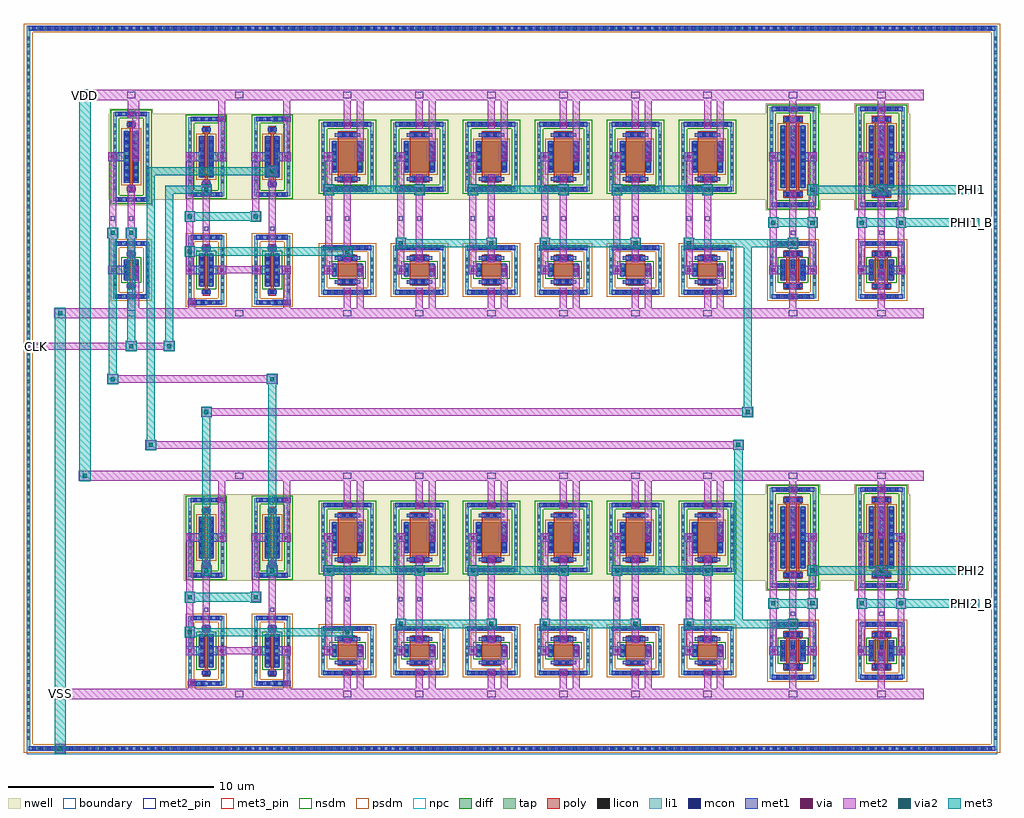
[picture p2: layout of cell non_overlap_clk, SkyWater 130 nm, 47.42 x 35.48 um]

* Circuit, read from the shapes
.subckt non_overlap_clk CLK PHI1 PHI1_B PHI2 PHI2_B VDD VSS
XM1 VSS CLK nand2_cell_0/B VSS sky130_fd_pr__nfet_01v8 w=1 l=0.15
XM2 n1 inv_buf_17/A inv_del_1/A VSS sky130_fd_pr__nfet_01v8 w=1.6 l=0.15
XM3 n2 CLK inv_del_12/A VSS sky130_fd_pr__nfet_01v8 w=1.6 l=0.15
XM4 VSS nand2_cell_0/B n1 VSS sky130_fd_pr__nfet_01v8 w=1.6 l=0.15
XM5 VSS inv_buf_7/A n2 VSS sky130_fd_pr__nfet_01v8 w=1.6 l=0.15
XM6 VSS inv_del_1/A inv_del_2/A VSS sky130_fd_pr__nfet_01v8 w=0.6 l=0.95
XM7 VSS inv_del_12/A inv_del_11/A VSS sky130_fd_pr__nfet_01v8 w=0.6 l=0.95
XM8 VSS inv_del_2/A inv_del_3/A VSS sky130_fd_pr__nfet_01v8 w=0.6 l=0.95
XM9 VSS inv_del_11/A inv_del_14/A VSS sky130_fd_pr__nfet_01v8 w=0.6 l=0.95
XM10 VSS inv_del_3/A inv_del_4/A VSS sky130_fd_pr__nfet_01v8 w=0.6 l=0.95
XM11 VSS inv_del_14/A inv_del_13/A VSS sky130_fd_pr__nfet_01v8 w=0.6 l=0.95
XM12 VSS inv_del_4/A inv_del_5/A VSS sky130_fd_pr__nfet_01v8 w=0.6 l=0.95
XM13 VSS inv_del_13/A inv_del_16/A VSS sky130_fd_pr__nfet_01v8 w=0.6 l=0.95
XM14 VSS inv_del_5/A inv_del_6/A VSS sky130_fd_pr__nfet_01v8 w=0.6 l=0.95
XM15 VSS inv_del_16/A inv_del_15/A VSS sky130_fd_pr__nfet_01v8 w=0.6 l=0.95
XM16 VSS inv_del_6/A inv_buf_7/A VSS sky130_fd_pr__nfet_01v8 w=0.6 l=0.95
XM17 VSS inv_del_15/A inv_buf_17/A VSS sky130_fd_pr__nfet_01v8 w=0.6 l=0.95
XM18 VSS inv_buf_7/A PHI2 VSS sky130_fd_pr__nfet_01v8 w=1 l=0.15 m=2
XM19 VSS inv_buf_17/A PHI1 VSS sky130_fd_pr__nfet_01v8 w=1 l=0.15 m=2
XM20 VSS PHI2 PHI2_B VSS sky130_fd_pr__nfet_01v8 w=1 l=0.15 m=2
XM21 VSS PHI1 PHI1_B VSS sky130_fd_pr__nfet_01v8 w=1 l=0.15 m=2
XM22 VDD CLK nand2_cell_0/B VDD sky130_fd_pr__pfet_01v8 w=2.5 l=0.15
XM23 VDD inv_buf_17/A inv_del_1/A VDD sky130_fd_pr__pfet_01v8 w=2 l=0.15
XM24 VDD CLK inv_del_12/A VDD sky130_fd_pr__pfet_01v8 w=2 l=0.15
XM25 VDD nand2_cell_0/B inv_del_1/A VDD sky130_fd_pr__pfet_01v8 w=2 l=0.15
XM26 VDD inv_buf_7/A inv_del_12/A VDD sky130_fd_pr__pfet_01v8 w=2 l=0.15
XM27 VDD inv_del_1/A inv_del_2/A VDD sky130_fd_pr__pfet_01v8 w=1.5 l=0.95
XM28 VDD inv_del_12/A inv_del_11/A VDD sky130_fd_pr__pfet_01v8 w=1.5 l=0.95
XM29 VDD inv_del_2/A inv_del_3/A VDD sky130_fd_pr__pfet_01v8 w=1.5 l=0.95
XM30 VDD inv_del_11/A inv_del_14/A VDD sky130_fd_pr__pfet_01v8 w=1.5 l=0.95
XM31 VDD inv_del_3/A inv_del_4/A VDD sky130_fd_pr__pfet_01v8 w=1.5 l=0.95
XM32 VDD inv_del_14/A inv_del_13/A VDD sky130_fd_pr__pfet_01v8 w=1.5 l=0.95
XM33 VDD inv_del_4/A inv_del_5/A VDD sky130_fd_pr__pfet_01v8 w=1.5 l=0.95
XM34 VDD inv_del_13/A inv_del_16/A VDD sky130_fd_pr__pfet_01v8 w=1.5 l=0.95
XM35 VDD inv_del_5/A inv_del_6/A VDD sky130_fd_pr__pfet_01v8 w=1.5 l=0.95
XM36 VDD inv_del_16/A inv_del_15/A VDD sky130_fd_pr__pfet_01v8 w=1.5 l=0.95
XM37 VDD inv_del_6/A inv_buf_7/A VDD sky130_fd_pr__pfet_01v8 w=1.5 l=0.95
XM38 VDD inv_del_15/A inv_buf_17/A VDD sky130_fd_pr__pfet_01v8 w=1.5 l=0.95
XM39 VDD inv_buf_7/A PHI2 VDD sky130_fd_pr__pfet_01v8 w=3 l=0.15 m=2
XM40 VDD inv_buf_17/A PHI1 VDD sky130_fd_pr__pfet_01v8 w=3 l=0.15 m=2
XM41 VDD PHI2 PHI2_B VDD sky130_fd_pr__pfet_01v8 w=3 l=0.15 m=2
XM42 VDD PHI1 PHI1_B VDD sky130_fd_pr__pfet_01v8 w=3 l=0.15 m=2
.ends

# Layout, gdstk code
import gdstk
lib = gdstk.Library(unit=1e-6, precision=1e-09)
def R(c, l, rs):  # rectangles x0, y0, x1, y1
    for r in rs: c.add(gdstk.rectangle(r[:2], r[2:], *l))
def A(c, l, x, y, w, h, nx, ny, dx, dy):  # array of equal rectangles
    R(c, l, [(x+i*dx, y+j*dy, x+i*dx+w, y+j*dy+h) for i in range(nx) for j in range(ny)])
nwell = (64, 20)
diff = (65, 20)
tap = (65, 44)
poly = (66, 20)
licon = (66, 44)
li1 = (67, 20)
mcon = (67, 44)
met1 = (68, 20)
via = (68, 44)
met2_pin = (69, 16)
met2 = (69, 20)
via2 = (69, 44)
met3_pin = (70, 16)
met3 = (70, 20)
nsdm = (93, 44)
psdm = (94, 20)
npc = (95, 20)
boundary = (235, 4)

dev_p_nand = lib.new_cell('dev_p_nand')
R(dev_p_nand, nwell, [(-1.055,-2.095,1.055,2.095)])
R(dev_p_nand, diff, [(-0.365,-1,0.365,1)])
R(dev_p_nand, tap, [(-0.875,-1.915,0.875,-1.745), (-0.875,-1.745,-0.705,1.745), (0.705,-1.745,0.875,1.745), (-0.875,1.745,0.875,1.915)])
R(dev_p_nand, poly, [(-0.165,-1.485,0.165,-1.155), (-0.075,-1.155,0.075,1.155), (-0.165,1.155,0.165,1.485)])
A(dev_p_nand, licon, -0.875, -1.275, 0.17, 0.17, 1, 8, 0, 0.34)
A(dev_p_nand, licon, 0.705, -1.275, 0.17, 0.17, 1, 8, 0, 0.34)
A(dev_p_nand, licon, -0.305, -0.935, 0.17, 0.17, 1, 6, 0, 0.34)
A(dev_p_nand, licon, 0.135, -0.935, 0.17, 0.17, 1, 6, 0, 0.34)
R(dev_p_nand, licon, [(-0.255,-1.915,-0.085,-1.745), (0.085,-1.915,0.255,-1.745), (-0.085,-1.405,0.085,-1.235), (-0.085,1.235,0.085,1.405), (-0.255,1.745,-0.085,1.915), (0.085,1.745,0.255,1.915)])
R(dev_p_nand, li1, [(-0.875,-1.915,0.875,-1.745), (-0.875,-1.745,-0.705,1.745), (0.705,-1.745,0.875,1.745), (-0.22,-1.405,0.22,-1.235), (-0.305,-1.02,-0.135,1.02), (0.135,-1.02,0.305,1.02), (-0.22,1.235,0.22,1.405), (-0.875,1.745,0.875,1.915)])
A(dev_p_nand, mcon, -0.625, -1.915, 0.17, 0.17, 4, 2, 0.36, 3.66)
A(dev_p_nand, mcon, -0.305, -0.805, 0.17, 0.17, 1, 5, 0, 0.36)
A(dev_p_nand, mcon, 0.135, -0.805, 0.17, 0.17, 1, 5, 0, 0.36)
R(dev_p_nand, mcon, [(-0.085,-1.405,0.085,-1.235), (-0.085,1.235,0.085,1.405)])
R(dev_p_nand, met1, [(-0.765,-1.945,0.765,-1.715), (-0.145,-1.435,0.145,-1.405), (-0.22,-1.405,0.22,-1.235), (-0.145,-1.235,0.145,-1.205), (-0.335,-1,-0.105,1), (0.105,-1,0.335,1), (-0.145,1.205,0.145,1.235), (-0.22,1.235,0.22,1.405), (-0.145,1.405,0.145,1.435), (-0.765,1.715,0.765,1.945)])
R(dev_p_nand, nsdm, [(-1,-2.04,1,-1.62), (-1,-1.62,-0.58,1.62), (0.58,-1.62,1,1.62), (-1,1.62,1,2.04)])
R(dev_p_nand, psdm, [(-0.49,-1.125,0.49,1.125)])
R(dev_p_nand, npc, [(-0.185,-1.505,0.185,-1.135), (-0.185,1.135,0.185,1.505)])
R(dev_p_nand, boundary, [(-0.79,-1.83,0.79,1.83)])

dev_n_nand = lib.new_cell('dev_n_nand')
R(dev_n_nand, diff, [(-0.365,-0.8,0.365,0.8)])
R(dev_n_nand, tap, [(-0.875,-1.67,0.875,-1.5), (-0.875,-1.5,-0.705,1.5), (0.705,-1.5,0.875,1.5), (-0.875,1.5,0.875,1.67)])
R(dev_n_nand, poly, [(-0.165,-1.24,0.165,-0.91), (-0.075,-0.91,0.075,0.91), (-0.165,0.91,0.165,1.24)])
A(dev_n_nand, licon, -0.875, -1.105, 0.17, 0.17, 1, 7, 0, 0.34)
A(dev_n_nand, licon, 0.705, -1.105, 0.17, 0.17, 1, 7, 0, 0.34)
A(dev_n_nand, licon, -0.305, -0.595, 0.17, 0.17, 1, 4, 0, 0.34)
A(dev_n_nand, licon, 0.135, -0.595, 0.17, 0.17, 1, 4, 0, 0.34)
R(dev_n_nand, licon, [(-0.255,-1.67,-0.085,-1.5), (0.085,-1.67,0.255,-1.5), (-0.085,-1.16,0.085,-0.99), (-0.085,0.99,0.085,1.16), (-0.255,1.5,-0.085,1.67), (0.085,1.5,0.255,1.67)])
R(dev_n_nand, li1, [(-0.875,-1.67,0.875,-1.5), (-0.875,-1.5,-0.705,1.5), (0.705,-1.5,0.875,1.5), (-0.22,-1.16,0.22,-0.99), (-0.305,-0.82,-0.135,0.82), (0.135,-0.82,0.305,0.82), (-0.22,0.99,0.22,1.16), (-0.875,1.5,0.875,1.67)])
A(dev_n_nand, mcon, -0.625, -1.67, 0.17, 0.17, 4, 2, 0.36, 3.17)
A(dev_n_nand, mcon, -0.305, -0.625, 0.17, 0.17, 1, 4, 0, 0.36)
A(dev_n_nand, mcon, 0.135, -0.625, 0.17, 0.17, 1, 4, 0, 0.36)
R(dev_n_nand, mcon, [(-0.085,-1.16,0.085,-0.99), (-0.085,0.99,0.085,1.16)])
R(dev_n_nand, met1, [(-0.765,-1.7,0.765,-1.47), (-0.145,-1.19,0.145,-1.16), (-0.22,-1.16,0.22,-0.99), (-0.145,-0.99,0.145,-0.96), (-0.335,-0.8,-0.105,0.8), (0.105,-0.8,0.335,0.8), (-0.145,0.96,0.145,0.99), (-0.22,0.99,0.22,1.16), (-0.145,1.16,0.145,1.19), (-0.765,1.47,0.765,1.7)])
R(dev_n_nand, nsdm, [(-0.49,-0.925,0.49,0.925)])
R(dev_n_nand, psdm, [(-1,-1.795,1,-1.375), (-1,-1.375,-0.58,1.375), (0.58,-1.375,1,1.375), (-1,1.375,1,1.795)])
R(dev_n_nand, npc, [(-0.185,-1.26,0.185,-0.89), (-0.185,0.89,0.185,1.26)])
R(dev_n_nand, boundary, [(-0.79,-1.585,0.79,1.585)])

nand2_cell = lib.new_cell('nand2_cell')
R(nand2_cell, nwell, [(-2.655,3.405,2.655,7.595)])
R(nand2_cell, met1, [(-2.51,-1.715,-1.6,-1.455), (1.6,-1.715,2.51,-1.455), (-2.61,-0.21,-1.705,0.21), (-1.495,-0.21,-0.64,0.21), (0.64,-0.21,1.495,0.21), (1.705,-0.21,2.51,0.21), (-1.8,0.945,-1.4,1.205), (1.4,0.945,1.8,1.205), (-1.8,4.05,-1.4,4.31), (1.4,4.05,1.8,4.31), (-2.61,5.29,-1.705,5.71), (-1.495,5.29,-0.64,5.71), (0.59,5.29,1.495,5.71), (1.705,5.29,2.51,5.71), (-1.05,7.2,-0.65,7.46), (1.6,7.2,2.51,7.46)])
R(nand2_cell, via, [(-2.375,-1.66,-2.225,-1.51), (2.225,-1.66,2.375,-1.51), (-2.475,-0.075,-2.325,0.075), (-0.925,-0.075,-0.775,0.075), (0.775,-0.075,0.925,0.075), (2.225,-0.075,2.375,0.075), (-1.675,1,-1.525,1.15), (1.525,1,1.675,1.15), (-1.675,4.105,-1.525,4.255), (1.525,4.105,1.675,4.255), (-2.475,5.425,-2.325,5.575), (-0.925,5.425,-0.775,5.575), (0.725,5.425,0.875,5.575), (2.225,5.425,2.375,5.575), (-0.925,7.255,-0.775,7.405), (2.225,7.255,2.375,7.405)])
R(nand2_cell, met2_pin, [(-0.2,-2.25,0.2,-1.95), (-1.7,1.9,-1.5,2.1), (1.5,1.9,1.7,2.1), (-2.5,2.5,-2.3,2.7), (-0.2,8.35,0.2,8.65)])
R(nand2_cell, met2, [(-3.2,-2.35,3.2,-1.85), (-2.47,-1.85,-2.13,-1.375), (2.13,-1.85,2.47,-0.21), (-2.61,-0.21,-2.19,0.21), (-1.06,-0.21,-0.64,-0.17), (0.64,-0.21,1.06,-0.17), (2.09,-0.21,2.51,0.21), (-1.06,-0.17,1.06,0.17), (-1.06,0.17,-0.64,0.21), (0.64,0.17,1.06,0.21), (-2.57,0.21,-2.23,2.37), (-1.77,0.865,-1.43,4.39), (1.43,0.865,1.77,4.39), (-2.63,2.37,-2.17,2.83), (0.57,2.37,1.03,2.83), (-2.57,2.83,-2.23,5.29), (0.63,2.83,0.97,5.29), (-2.61,5.29,-2.19,5.71), (-1.06,5.29,-0.64,5.71), (0.59,5.29,1.01,5.71), (2.09,5.29,2.51,5.71), (-1.02,5.71,-0.68,8.25), (2.13,5.71,2.47,8.25), (-3.2,8.25,3.2,8.75)])
R(nand2_cell, via2, [(-2.5,2.5,-2.3,2.7), (0.7,2.5,0.9,2.7)])
R(nand2_cell, met3, [(-2.66,2.34,-2.14,2.39), (0.54,2.34,1.06,2.39), (-2.66,2.39,1.06,2.81), (-2.66,2.81,-2.14,2.86), (0.54,2.81,1.06,2.86)])
R(nand2_cell, boundary, [(-3.2,-2.35,3.2,8.75)])
nand2_cell.add(gdstk.Reference(dev_p_nand, (1.6,5.5)))
nand2_cell.add(gdstk.Reference(dev_p_nand, (-1.6,5.5)))
nand2_cell.add(gdstk.Reference(dev_n_nand, (1.6,0)))
nand2_cell.add(gdstk.Reference(dev_n_nand, (-1.6,0)))
nand2_cell.add(gdstk.Label('A', (-1.6,2), layer=69, texttype=5))
nand2_cell.add(gdstk.Label('B', (1.6,2), layer=69, texttype=5))
nand2_cell.add(gdstk.Label('Y', (-2.4,2.6), layer=69, texttype=5))
nand2_cell.add(gdstk.Label('VDD', (0,8.5), layer=69, texttype=5))
nand2_cell.add(gdstk.Label('VSS', (0,-2.1), layer=69, texttype=5))

dev_p_inv_del = lib.new_cell('dev_p_inv_del')
R(dev_p_inv_del, nwell, [(-1.455,-1.845,1.455,1.845)])
R(dev_p_inv_del, diff, [(-0.765,-0.75,0.765,0.75)])
R(dev_p_inv_del, tap, [(-1.275,-1.665,1.275,-1.495), (-1.275,-1.495,-1.105,1.495), (1.105,-1.495,1.275,1.495), (-1.275,1.495,1.275,1.665)])
R(dev_p_inv_del, poly, [(-0.475,-1.235,0.475,1.235)])
A(dev_p_inv_del, licon, -0.765, -1.665, 0.17, 0.17, 5, 2, 0.34, 3.16)
A(dev_p_inv_del, licon, -1.275, -1.105, 0.17, 0.17, 1, 7, 0, 0.34)
A(dev_p_inv_del, licon, 1.105, -1.105, 0.17, 0.17, 1, 7, 0, 0.34)
A(dev_p_inv_del, licon, -0.705, -0.595, 0.17, 0.17, 1, 4, 0, 0.34)
A(dev_p_inv_del, licon, 0.535, -0.595, 0.17, 0.17, 1, 4, 0, 0.34)
R(dev_p_inv_del, licon, [(-0.255,-1.155,-0.085,-0.985), (0.085,-1.155,0.255,-0.985), (-0.255,0.985,-0.085,1.155), (0.085,0.985,0.255,1.155)])
R(dev_p_inv_del, li1, [(-1.275,-1.665,1.275,-1.495), (-1.275,-1.495,-1.105,1.495), (1.105,-1.495,1.275,1.495), (-0.62,-1.155,0.62,-0.985), (-0.705,-0.77,-0.535,0.77), (0.535,-0.77,0.705,0.77), (-0.62,0.985,0.62,1.155), (-1.275,1.495,1.275,1.665)])
A(dev_p_inv_del, mcon, -0.985, -1.665, 0.17, 0.17, 6, 2, 0.36, 3.16)
A(dev_p_inv_del, mcon, -0.705, -0.625, 0.17, 0.17, 1, 4, 0, 0.36)
A(dev_p_inv_del, mcon, 0.535, -0.625, 0.17, 0.17, 1, 4, 0, 0.36)
R(dev_p_inv_del, mcon, [(-0.265,-1.155,-0.095,-0.985), (0.095,-1.155,0.265,-0.985), (-0.265,0.985,-0.095,1.155), (0.095,0.985,0.265,1.155)])
R(dev_p_inv_del, met1, [(-1.165,-1.695,1.165,-1.465), (-0.455,-1.185,0.455,-1.155), (-0.62,-1.155,0.62,-0.985), (-0.455,-0.985,0.455,-0.955), (-0.735,-0.75,-0.505,0.75), (0.505,-0.75,0.735,0.75), (-0.455,0.955,0.455,0.985), (-0.62,0.985,0.62,1.155), (-0.455,1.155,0.455,1.185), (-1.165,1.465,1.165,1.695)])
R(dev_p_inv_del, nsdm, [(-1.4,-1.79,1.4,-1.37), (-1.4,-1.37,-0.98,1.37), (0.98,-1.37,1.4,1.37), (-1.4,1.37,1.4,1.79)])
R(dev_p_inv_del, psdm, [(-0.89,-0.875,0.89,0.875)])
R(dev_p_inv_del, npc, [(-0.355,-1.255,0.355,-0.885), (-0.355,0.885,0.355,1.255)])
R(dev_p_inv_del, boundary, [(-1.19,-1.58,1.19,1.58)])

dev_n_inv_del = lib.new_cell('dev_n_inv_del')
R(dev_n_inv_del, diff, [(-0.765,-0.3,0.765,0.3)])
R(dev_n_inv_del, tap, [(-1.275,-1.17,1.275,-1), (-1.275,-1,-1.105,1), (1.105,-1,1.275,1), (-1.275,1,1.275,1.17)])
R(dev_n_inv_del, poly, [(-0.475,-0.74,0.475,0.74)])
A(dev_n_inv_del, licon, -0.765, -1.17, 0.17, 0.17, 5, 2, 0.34, 2.17)
A(dev_n_inv_del, licon, -1.275, -0.595, 0.17, 0.17, 1, 4, 0, 0.34)
A(dev_n_inv_del, licon, 1.105, -0.595, 0.17, 0.17, 1, 4, 0, 0.34)
R(dev_n_inv_del, licon, [(-0.255,-0.66,-0.085,-0.49), (0.085,-0.66,0.255,-0.49), (-0.705,-0.085,-0.535,0.085), (0.535,-0.085,0.705,0.085), (-0.255,0.49,-0.085,0.66), (0.085,0.49,0.255,0.66)])
R(dev_n_inv_del, li1, [(-1.275,-1.17,1.275,-1), (-1.275,-1,-1.105,1), (1.105,-1,1.275,1), (-0.62,-0.66,0.62,-0.49), (-0.705,-0.32,-0.535,0.32), (0.535,-0.32,0.705,0.32), (-0.62,0.49,0.62,0.66), (-1.275,1,1.275,1.17)])
A(dev_n_inv_del, mcon, -0.985, -1.17, 0.17, 0.17, 6, 2, 0.36, 2.17)
R(dev_n_inv_del, mcon, [(-0.265,-0.66,-0.095,-0.49), (0.095,-0.66,0.265,-0.49), (-0.705,-0.085,-0.535,0.085), (0.535,-0.085,0.705,0.085), (-0.265,0.49,-0.095,0.66), (0.095,0.49,0.265,0.66)])
R(dev_n_inv_del, met1, [(-1.165,-1.2,1.165,-0.97), (-0.455,-0.69,0.455,-0.66), (-0.62,-0.66,0.62,-0.49), (-0.455,-0.49,0.455,-0.46), (-0.735,-0.3,-0.505,0.3), (0.505,-0.3,0.735,0.3), (-0.455,0.46,0.455,0.49), (-0.62,0.49,0.62,0.66), (-0.455,0.66,0.455,0.69), (-1.165,0.97,1.165,1.2)])
R(dev_n_inv_del, nsdm, [(-0.89,-0.425,0.89,0.425)])
R(dev_n_inv_del, psdm, [(-1.4,-1.295,1.4,-0.875), (-1.4,-0.875,-0.98,0.875), (0.98,-0.875,1.4,0.875), (-1.4,0.875,1.4,1.295)])
R(dev_n_inv_del, npc, [(-0.355,-0.76,0.355,-0.39), (-0.355,0.39,0.355,0.76)])
R(dev_n_inv_del, boundary, [(-1.19,-1.085,1.19,1.085)])

inv_del = lib.new_cell('inv_del')
R(inv_del, met1, [(-0.2,-1.215,0.2,-0.955), (-1.11,-0.21,-0.505,0.21), (0.49,-0.21,0.75,0.21), (-0.2,0.445,0.2,0.705), (-0.2,4.3,0.2,4.56), (-1.11,5.29,-0.505,5.71), (0.49,5.29,0.75,5.71), (-0.2,6.95,0.2,7.21)])
R(inv_del, via, [(-0.075,-1.16,0.075,-1.01), (-0.975,-0.075,-0.825,0.075), (0.545,-0.075,0.695,0.075), (-0.075,0.5,0.075,0.65), (-0.075,4.355,0.075,4.505), (-0.975,5.425,-0.825,5.575), (0.545,5.425,0.695,5.575), (-0.075,7.005,0.075,7.155)])
R(inv_del, met2_pin, [(-0.2,-2.25,0.2,-1.95), (-1,2.4,-0.8,2.6), (-0.1,2.4,0.1,2.6), (-0.2,8.35,0.2,8.65)])
R(inv_del, met2, [(-1.65,-2.35,1.65,-1.85), (-0.17,-1.85,0.17,-0.875), (0.45,-1.85,0.79,0.21), (-1.11,-0.21,-0.69,0.21), (-1.07,0.21,-0.73,5.29), (-0.17,0.365,0.17,4.64), (-1.11,5.29,-0.69,5.71), (0.45,5.29,0.79,8.25), (-0.17,6.87,0.17,8.25), (-1.65,8.25,1.65,8.75)])
R(inv_del, boundary, [(-1.65,-2.35,1.65,8.75)])
inv_del.add(gdstk.Reference(dev_p_inv_del, (0,5.5)))
inv_del.add(gdstk.Reference(dev_n_inv_del, (0,0)))
inv_del.add(gdstk.Label('A', (0,2.5), layer=69, texttype=5))
inv_del.add(gdstk.Label('Y', (-0.9,2.5), layer=69, texttype=5))
inv_del.add(gdstk.Label('VDD', (0,8.5), layer=69, texttype=5))
inv_del.add(gdstk.Label('VSS', (0,-2.1), layer=69, texttype=5))

dev_p_inv_buf = lib.new_cell('dev_p_inv_buf')
R(dev_p_inv_buf, nwell, [(-1.315,-2.595,1.315,2.595)])
R(dev_p_inv_buf, diff, [(-0.625,-1.5,0.625,1.5)])
R(dev_p_inv_buf, tap, [(-1.135,-2.415,1.135,-2.245), (-1.135,-2.245,-0.965,2.245), (0.965,-2.245,1.135,2.245), (-1.135,2.245,1.135,2.415)])
R(dev_p_inv_buf, poly, [(-0.48,-1.985,0.48,-1.655), (-0.315,-1.655,-0.165,1.655), (0.165,-1.655,0.315,1.655), (-0.48,1.655,0.48,1.985)])
A(dev_p_inv_buf, licon, -0.595, -2.415, 0.17, 0.17, 4, 2, 0.34, 4.66)
A(dev_p_inv_buf, licon, -1.135, -1.785, 0.17, 0.17, 1, 11, 0, 0.34)
A(dev_p_inv_buf, licon, 0.965, -1.785, 0.17, 0.17, 1, 11, 0, 0.34)
A(dev_p_inv_buf, licon, -0.565, -1.275, 0.17, 0.17, 3, 8, 0.48, 0.34)
R(dev_p_inv_buf, licon, [(-0.325,-1.905,-0.155,-1.735), (0.155,-1.905,0.325,-1.735), (-0.325,1.735,-0.155,1.905), (0.155,1.735,0.325,1.905)])
A(dev_p_inv_buf, li1, -0.565, -1.52, 0.17, 3.04, 3, 1, 0.48, 0)
R(dev_p_inv_buf, li1, [(-1.135,-2.415,1.135,-2.245), (-1.135,-2.245,-0.965,2.245), (0.965,-2.245,1.135,2.245), (-0.48,-1.905,0.48,-1.735), (-0.48,1.735,0.48,1.905), (-1.135,2.245,1.135,2.415)])
A(dev_p_inv_buf, mcon, -0.805, -2.415, 0.17, 0.17, 5, 2, 0.36, 4.66)
A(dev_p_inv_buf, mcon, -0.565, -1.345, 0.17, 0.17, 3, 8, 0.48, 0.36)
R(dev_p_inv_buf, mcon, [(-0.325,-1.905,-0.155,-1.735), (0.155,-1.905,0.325,-1.735), (-0.325,1.735,-0.155,1.905), (0.155,1.735,0.325,1.905)])
A(dev_p_inv_buf, met1, -0.595, -1.5, 0.23, 3, 3, 1, 0.48, 0)
R(dev_p_inv_buf, met1, [(-1.025,-2.445,1.025,-2.215), (-0.385,-1.935,-0.095,-1.905), (0.095,-1.935,0.385,-1.905), (-0.48,-1.905,0.48,-1.735), (-0.385,-1.735,-0.095,-1.705), (0.095,-1.735,0.385,-1.705), (-0.385,1.705,-0.095,1.735), (0.095,1.705,0.385,1.735), (-0.48,1.735,0.48,1.905), (-0.385,1.905,-0.095,1.935), (0.095,1.905,0.385,1.935), (-1.025,2.215,1.025,2.445)])
R(dev_p_inv_buf, nsdm, [(-1.26,-2.54,1.26,-2.12), (-1.26,-2.12,-0.84,2.12), (0.84,-2.12,1.26,2.12), (-1.26,2.12,1.26,2.54)])
R(dev_p_inv_buf, psdm, [(-0.75,-1.625,0.75,1.625)])
R(dev_p_inv_buf, npc, [(-0.425,-2.005,0.425,-1.635), (-0.425,1.635,0.425,2.005)])
R(dev_p_inv_buf, boundary, [(-1.05,-2.33,1.05,2.33)])

dev_n_inv_buf = lib.new_cell('dev_n_inv_buf')
R(dev_n_inv_buf, diff, [(-0.625,-0.5,0.625,0.5)])
R(dev_n_inv_buf, tap, [(-1.135,-1.37,1.135,-1.2), (-1.135,-1.2,-0.965,1.2), (0.965,-1.2,1.135,1.2), (-1.135,1.2,1.135,1.37)])
R(dev_n_inv_buf, poly, [(-0.48,-0.94,0.48,-0.61), (-0.315,-0.61,-0.165,0.61), (0.165,-0.61,0.315,0.61), (-0.48,0.61,0.48,0.94)])
A(dev_n_inv_buf, licon, -0.595, -1.37, 0.17, 0.17, 4, 2, 0.34, 2.57)
A(dev_n_inv_buf, licon, -1.135, -0.765, 0.17, 0.17, 1, 5, 0, 0.34)
A(dev_n_inv_buf, licon, 0.965, -0.765, 0.17, 0.17, 1, 5, 0, 0.34)
A(dev_n_inv_buf, licon, -0.565, -0.425, 0.17, 0.17, 3, 3, 0.48, 0.34)
R(dev_n_inv_buf, licon, [(-0.325,-0.86,-0.155,-0.69), (0.155,-0.86,0.325,-0.69), (-0.325,0.69,-0.155,0.86), (0.155,0.69,0.325,0.86)])
A(dev_n_inv_buf, li1, -0.565, -0.52, 0.17, 1.04, 3, 1, 0.48, 0)
R(dev_n_inv_buf, li1, [(-1.135,-1.37,1.135,-1.2), (-1.135,-1.2,-0.965,1.2), (0.965,-1.2,1.135,1.2), (-0.48,-0.86,0.48,-0.69), (-0.48,0.69,0.48,0.86), (-1.135,1.2,1.135,1.37)])
A(dev_n_inv_buf, mcon, -0.805, -1.37, 0.17, 0.17, 5, 2, 0.36, 2.57)
A(dev_n_inv_buf, mcon, -0.565, -0.265, 0.17, 0.17, 3, 2, 0.48, 0.36)
R(dev_n_inv_buf, mcon, [(-0.325,-0.86,-0.155,-0.69), (0.155,-0.86,0.325,-0.69), (-0.325,0.69,-0.155,0.86), (0.155,0.69,0.325,0.86)])
A(dev_n_inv_buf, met1, -0.595, -0.5, 0.23, 1, 3, 1, 0.48, 0)
R(dev_n_inv_buf, met1, [(-1.025,-1.4,1.025,-1.17), (-0.385,-0.89,-0.095,-0.86), (0.095,-0.89,0.385,-0.86), (-0.48,-0.86,0.48,-0.69), (-0.385,-0.69,-0.095,-0.66), (0.095,-0.69,0.385,-0.66), (-0.385,0.66,-0.095,0.69), (0.095,0.66,0.385,0.69), (-0.48,0.69,0.48,0.86), (-0.385,0.86,-0.095,0.89), (0.095,0.86,0.385,0.89), (-1.025,1.17,1.025,1.4)])
R(dev_n_inv_buf, nsdm, [(-0.75,-0.625,0.75,0.625)])
R(dev_n_inv_buf, psdm, [(-1.26,-1.495,1.26,-1.075), (-1.26,-1.075,-0.84,1.075), (0.84,-1.075,1.26,1.075), (-1.26,1.075,1.26,1.495)])
R(dev_n_inv_buf, npc, [(-0.425,-0.96,0.425,-0.59), (-0.425,0.59,0.425,0.96)])
R(dev_n_inv_buf, boundary, [(-1.05,-1.285,1.05,1.285)])

inv_buf = lib.new_cell('inv_buf')
R(inv_buf, met1, [(-0.2,-1.415,0.2,-1.155), (-0.13,-0.36,0.13,0.06), (-1.16,-0.21,-0.365,0.21), (0.365,-0.21,1.16,0.21), (-0.2,0.645,0.2,0.905), (-0.2,3.55,0.2,3.81), (-1.16,5.29,-0.365,5.71), (0.365,5.29,1.16,5.71), (-0.13,5.44,0.13,5.86), (-0.2,7.7,0.2,7.96)])
R(inv_buf, via, [(-0.075,-1.36,0.075,-1.21), (-0.075,-0.225,0.075,-0.075), (-1.025,-0.075,-0.875,0.075), (0.875,-0.075,1.025,0.075), (-0.075,0.7,0.075,0.85), (-0.075,3.605,0.075,3.755), (-1.025,5.425,-0.875,5.575), (0.875,5.425,1.025,5.575), (-0.075,5.575,0.075,5.725), (-0.075,7.755,0.075,7.905)])
R(inv_buf, met2_pin, [(-0.2,-2.25,0.2,-1.95), (-0.1,1.7,0.1,1.9), (0.85,2.2,1.05,2.4), (-0.2,8.35,0.2,8.65)])
R(inv_buf, met2, [(-1.8,-2.35,1.8,-1.85), (-0.17,-1.85,0.17,0.06), (-1.16,-0.21,-0.74,0.21), (0.74,-0.21,1.16,0.21), (-1.12,0.21,-0.78,2.07), (0.78,0.21,1.12,2.07), (-0.17,0.565,0.17,3.89), (-1.18,2.07,-0.72,2.53), (0.72,2.07,1.18,2.53), (-1.12,2.53,-0.78,5.29), (0.78,2.53,1.12,5.29), (-1.16,5.29,-0.74,5.71), (0.74,5.29,1.16,5.71), (-0.17,5.44,0.17,8.25), (-1.8,8.25,1.8,8.75)])
R(inv_buf, via2, [(-1.05,2.2,-0.85,2.4), (0.85,2.2,1.05,2.4)])
R(inv_buf, met3, [(-1.21,2.04,-0.69,2.09), (0.69,2.04,1.21,2.09), (-1.21,2.09,1.21,2.51), (-1.21,2.51,-0.69,2.56), (0.69,2.51,1.21,2.56)])
R(inv_buf, boundary, [(-1.8,-2.35,1.8,8.75)])
inv_buf.add(gdstk.Reference(dev_p_inv_buf, (0,5.5)))
inv_buf.add(gdstk.Reference(dev_n_inv_buf, (0,0)))
inv_buf.add(gdstk.Label('A', (0,1.8), layer=69, texttype=5))
inv_buf.add(gdstk.Label('Y', (0.95,2.3), layer=69, texttype=5))
inv_buf.add(gdstk.Label('VDD', (0,8.5), layer=69, texttype=5))
inv_buf.add(gdstk.Label('VSS', (0,-2.1), layer=69, texttype=5))

dev_p_inv_in = lib.new_cell('dev_p_inv_in')
R(dev_p_inv_in, nwell, [(-1.055,-2.345,1.055,2.345)])
R(dev_p_inv_in, diff, [(-0.365,-1.25,0.365,1.25)])
R(dev_p_inv_in, tap, [(-0.875,-2.165,0.875,-1.995), (-0.875,-1.995,-0.705,1.995), (0.705,-1.995,0.875,1.995), (-0.875,1.995,0.875,2.165)])
R(dev_p_inv_in, poly, [(-0.165,-1.735,0.165,-1.405), (-0.075,-1.405,0.075,1.405), (-0.165,1.405,0.165,1.735)])
A(dev_p_inv_in, licon, -0.875, -1.615, 0.17, 0.17, 1, 10, 0, 0.34)
A(dev_p_inv_in, licon, 0.705, -1.615, 0.17, 0.17, 1, 10, 0, 0.34)
A(dev_p_inv_in, licon, -0.305, -1.105, 0.17, 0.17, 1, 7, 0, 0.34)
A(dev_p_inv_in, licon, 0.135, -1.105, 0.17, 0.17, 1, 7, 0, 0.34)
R(dev_p_inv_in, licon, [(-0.255,-2.165,-0.085,-1.995), (0.085,-2.165,0.255,-1.995), (-0.085,-1.655,0.085,-1.485), (-0.085,1.485,0.085,1.655), (-0.255,1.995,-0.085,2.165), (0.085,1.995,0.255,2.165)])
R(dev_p_inv_in, li1, [(-0.875,-2.165,0.875,-1.995), (-0.875,-1.995,-0.705,1.995), (0.705,-1.995,0.875,1.995), (-0.22,-1.655,0.22,-1.485), (-0.305,-1.27,-0.135,1.27), (0.135,-1.27,0.305,1.27), (-0.22,1.485,0.22,1.655), (-0.875,1.995,0.875,2.165)])
A(dev_p_inv_in, mcon, -0.625, -2.165, 0.17, 0.17, 4, 2, 0.36, 4.16)
A(dev_p_inv_in, mcon, -0.305, -1.165, 0.17, 0.17, 1, 7, 0, 0.36)
A(dev_p_inv_in, mcon, 0.135, -1.165, 0.17, 0.17, 1, 7, 0, 0.36)
R(dev_p_inv_in, mcon, [(-0.085,-1.655,0.085,-1.485), (-0.085,1.485,0.085,1.655)])
R(dev_p_inv_in, met1, [(-0.765,-2.195,0.765,-1.965), (-0.145,-1.685,0.145,-1.655), (-0.22,-1.655,0.22,-1.485), (-0.145,-1.485,0.145,-1.455), (-0.335,-1.25,-0.105,1.25), (0.105,-1.25,0.335,1.25), (-0.145,1.455,0.145,1.485), (-0.22,1.485,0.22,1.655), (-0.145,1.655,0.145,1.685), (-0.765,1.965,0.765,2.195)])
R(dev_p_inv_in, nsdm, [(-1,-2.29,1,-1.87), (-1,-1.87,-0.58,1.87), (0.58,-1.87,1,1.87), (-1,1.87,1,2.29)])
R(dev_p_inv_in, psdm, [(-0.49,-1.375,0.49,1.375)])
R(dev_p_inv_in, npc, [(-0.185,-1.755,0.185,-1.385), (-0.185,1.385,0.185,1.755)])
R(dev_p_inv_in, boundary, [(-0.79,-2.08,0.79,2.08)])

dev_n_inv_in = lib.new_cell('dev_n_inv_in')
R(dev_n_inv_in, diff, [(-0.365,-0.5,0.365,0.5)])
R(dev_n_inv_in, tap, [(-0.875,-1.37,0.875,-1.2), (-0.875,-1.2,-0.705,1.2), (0.705,-1.2,0.875,1.2), (-0.875,1.2,0.875,1.37)])
R(dev_n_inv_in, poly, [(-0.165,-0.94,0.165,-0.61), (-0.075,-0.61,0.075,0.61), (-0.165,0.61,0.165,0.94)])
A(dev_n_inv_in, licon, -0.875, -0.765, 0.17, 0.17, 1, 5, 0, 0.34)
A(dev_n_inv_in, licon, 0.705, -0.765, 0.17, 0.17, 1, 5, 0, 0.34)
A(dev_n_inv_in, licon, -0.305, -0.425, 0.17, 0.17, 1, 3, 0, 0.34)
A(dev_n_inv_in, licon, 0.135, -0.425, 0.17, 0.17, 1, 3, 0, 0.34)
R(dev_n_inv_in, licon, [(-0.255,-1.37,-0.085,-1.2), (0.085,-1.37,0.255,-1.2), (-0.085,-0.86,0.085,-0.69), (-0.085,0.69,0.085,0.86), (-0.255,1.2,-0.085,1.37), (0.085,1.2,0.255,1.37)])
R(dev_n_inv_in, li1, [(-0.875,-1.37,0.875,-1.2), (-0.875,-1.2,-0.705,1.2), (0.705,-1.2,0.875,1.2), (-0.22,-0.86,0.22,-0.69), (-0.305,-0.52,-0.135,0.52), (0.135,-0.52,0.305,0.52), (-0.22,0.69,0.22,0.86), (-0.875,1.2,0.875,1.37)])
A(dev_n_inv_in, mcon, -0.625, -1.37, 0.17, 0.17, 4, 2, 0.36, 2.57)
R(dev_n_inv_in, mcon, [(-0.085,-0.86,0.085,-0.69), (-0.305,-0.265,-0.135,-0.095), (0.135,-0.265,0.305,-0.095), (-0.305,0.095,-0.135,0.265), (0.135,0.095,0.305,0.265), (-0.085,0.69,0.085,0.86)])
R(dev_n_inv_in, met1, [(-0.765,-1.4,0.765,-1.17), (-0.145,-0.89,0.145,-0.86), (-0.22,-0.86,0.22,-0.69), (-0.145,-0.69,0.145,-0.66), (-0.335,-0.5,-0.105,0.5), (0.105,-0.5,0.335,0.5), (-0.145,0.66,0.145,0.69), (-0.22,0.69,0.22,0.86), (-0.145,0.86,0.145,0.89), (-0.765,1.17,0.765,1.4)])
R(dev_n_inv_in, nsdm, [(-0.49,-0.625,0.49,0.625)])
R(dev_n_inv_in, psdm, [(-1,-1.495,1,-1.075), (-1,-1.075,-0.58,1.075), (0.58,-1.075,1,1.075), (-1,1.075,1,1.495)])
R(dev_n_inv_in, npc, [(-0.185,-0.96,0.185,-0.59), (-0.185,0.59,0.185,0.96)])
R(dev_n_inv_in, boundary, [(-0.79,-1.285,0.79,1.285)])

inv_in = lib.new_cell('inv_in')
R(inv_in, met1, [(-0.2,-1.415,0.2,-1.155), (-1.11,-0.21,-0.105,0.21), (0.09,-0.21,0.35,0.21), (-0.2,0.645,0.2,0.905), (-0.2,3.8,0.2,4.06), (-1.11,5.29,-0.105,5.71), (0.09,5.29,0.35,5.71), (-0.2,7.45,0.2,7.71)])
R(inv_in, via, [(-0.075,-1.36,0.075,-1.21), (-0.975,-0.075,-0.825,0.075), (0.145,-0.075,0.295,0.075), (-0.075,0.7,0.075,0.85), (-0.075,3.855,0.075,4.005), (-0.975,5.425,-0.825,5.575), (0.145,5.425,0.295,5.575), (-0.075,7.505,0.075,7.655)])
R(inv_in, met2_pin, [(-0.2,-2.25,0.2,-1.95), (-1,2.4,-0.8,2.6), (-0.1,2.4,0.1,2.6), (-0.2,8.35,0.2,8.65)])
R(inv_in, met2, [(-1.35,-2.35,1.35,-1.85), (-0.17,-1.85,0.39,-1.075), (0.05,-1.075,0.39,0.21), (-1.11,-0.21,-0.69,0.21), (-1.07,0.21,-0.73,5.29), (-0.17,0.565,0.17,4.14), (-1.11,5.29,-0.69,5.71), (0.05,5.29,0.39,7.37), (-0.17,7.37,0.39,8.25), (-1.35,8.25,1.35,8.75)])
R(inv_in, boundary, [(-1.35,-2.35,1.35,8.75)])
inv_in.add(gdstk.Reference(dev_p_inv_in, (0,5.5)))
inv_in.add(gdstk.Reference(dev_n_inv_in, (0,0)))
inv_in.add(gdstk.Label('A', (0,2.5), layer=69, texttype=5))
inv_in.add(gdstk.Label('Y', (-0.9,2.5), layer=69, texttype=5))
inv_in.add(gdstk.Label('VDD', (0,8.5), layer=69, texttype=5))
inv_in.add(gdstk.Label('VSS', (0,-2.1), layer=69, texttype=5))

gr_clk = lib.new_cell('gr_clk')
R(gr_clk, tap, [(-23.585,-17.585,23.585,-17.415), (-23.585,-17.415,-23.415,17.415), (23.415,-17.415,23.585,17.415), (-23.585,17.415,23.585,17.585)])
A(gr_clk, licon, -23.035, -17.585, 0.17, 0.17, 136, 2, 0.34, 35)
A(gr_clk, licon, -23.585, -17.085, 0.17, 0.17, 1, 101, 0, 0.34)
A(gr_clk, licon, 23.415, -17.085, 0.17, 0.17, 1, 101, 0, 0.34)
R(gr_clk, li1, [(-23.585,-17.585,23.585,-17.415), (-23.585,-17.415,-23.415,17.415), (23.415,-17.415,23.585,17.415), (-23.585,17.415,23.585,17.585)])
A(gr_clk, mcon, -23.305, -17.585, 0.17, 0.17, 130, 2, 0.36, 35)
R(gr_clk, met1, [(-23.475,-17.615,23.475,-17.385), (-23.475,17.385,23.475,17.615)])
R(gr_clk, psdm, [(-23.71,-17.71,23.71,-17.29), (-23.71,-17.29,-23.29,17.29), (23.29,-17.29,23.71,17.29), (-23.71,17.29,23.71,17.71)])
R(gr_clk, boundary, [(-23.5,-17.5,23.5,17.5)])

non_overlap_clk = lib.new_cell('non_overlap_clk')
R(non_overlap_clk, nwell, [(-17.7,-7.595,17.6,-3.405), (-21.35,10.905,17.6,15.095)])
R(non_overlap_clk, met1, [(-23.9,-15.88,-23.5,-15.62)])
R(non_overlap_clk, via, [(-23.775,-15.825,-23.625,-15.675)])
R(non_overlap_clk, met2_pin, [(-25,3.7,-24.7,3.9)])
R(non_overlap_clk, met2, [(-23.93,-15.98,-23.47,-15.52), (-24,-13.35,18.25,-12.85), (-17.63,-10.33,-17.17,-9.87), (-9.98,-10.33,-9.52,-9.87), (-7.38,-9.93,-6.92,-9.47), (-2.98,-9.93,-2.52,-9.47), (-0.38,-9.93,0.08,-9.47), (4.02,-9.93,4.48,-9.47), (6.62,-9.93,7.08,-9.47), (11.67,-9.93,12.13,-9.47), (-17.56,-9.87,-17.24,-8.24), (-9.91,-9.87,-9.59,-8.34), (-7.31,-9.47,-6.99,-8.34), (-2.91,-9.47,-2.59,-8.34), (-0.31,-9.47,0.01,-8.34), (4.09,-9.47,4.41,-8.34), (6.69,-9.47,7.01,-8.34), (11.74,-9.47,12.06,-9.04), (16.04,-9.36,16.36,-7.33), (12.69,-8.86,13.01,-7.33), (-10.81,-8.66,-10.49,-7.33), (-6.41,-8.66,-6.09,-7.33), (-3.81,-8.66,-3.49,-7.33), (0.59,-8.66,0.91,-7.33), (3.19,-8.66,3.51,-7.33), (7.59,-8.66,7.91,-7.33), (-16.83,-7.33,-16.37,-6.87), (-13.63,-7.33,-13.17,-6.87), (-10.88,-7.33,-10.42,-6.87), (-6.48,-7.33,-6.02,-6.87), (-3.88,-7.33,-3.42,-6.87), (0.52,-7.33,0.98,-6.87), (3.12,-7.33,3.58,-6.87), (7.52,-7.33,7.98,-6.87), (12.62,-7.33,13.08,-6.87), (15.97,-7.33,16.43,-6.87), (-22.8,-2.75,18.25,-2.25), (-19.53,-1.23,-19.07,-1.175), (9.02,-1.23,9.48,-1.175), (-19.53,-1.175,9.48,-0.825), (-19.53,-0.825,-19.07,-0.77), (9.02,-0.825,9.48,-0.77), (-16.83,0.37,-16.37,0.425), (9.47,0.37,9.93,0.425), (-16.83,0.425,9.93,0.775), (-16.83,0.775,-16.37,0.83), (9.47,0.775,9.93,0.83), (-21.38,1.97,-20.92,2.025), (-13.63,1.97,-13.17,2.025), (-21.38,2.025,-13.17,2.375), (-21.38,2.375,-20.92,2.43), (-13.63,2.375,-13.17,2.43), (-20.48,3.57,-20.02,3.625), (-18.63,3.57,-18.17,3.625), (-25.175,3.625,-18.17,3.975), (-20.48,3.975,-20.02,4.03), (-18.63,3.975,-18.17,4.03), (-24,5.15,18.25,5.65), (-17.63,8.17,-17.17,8.63), (-9.98,8.17,-9.52,8.63), (-7.38,8.57,-6.92,9.03), (-2.98,8.57,-2.52,9.03), (-0.38,8.57,0.08,9.03), (4.02,8.57,4.48,9.03), (6.62,8.57,7.08,9.03), (11.67,8.57,12.13,9.03), (-17.56,8.63,-17.24,10.26), (-9.91,8.63,-9.59,10.16), (-7.31,9.03,-6.99,10.16), (-2.91,9.03,-2.59,10.16), (-0.31,9.03,0.01,10.16), (4.09,9.03,4.41,10.16), (6.69,9.03,7.01,10.16), (11.74,9.03,12.06,9.46), (-21.38,9.07,-20.92,9.53), (-20.48,9.07,-20.02,9.53), (16.04,9.14,16.36,11.17), (12.69,9.64,13.01,11.17), (-10.81,9.84,-10.49,11.17), (-6.41,9.84,-6.09,11.17), (-3.81,9.84,-3.49,11.17), (0.59,9.84,0.91,11.17), (3.19,9.84,3.51,11.17), (7.59,9.84,7.91,11.17), (-16.83,11.17,-16.37,11.63), (-10.88,11.17,-10.42,11.63), (-6.48,11.17,-6.02,11.63), (-3.88,11.17,-3.42,11.63), (0.52,11.17,0.98,11.63), (3.12,11.17,3.58,11.63), (7.52,11.17,7.98,11.63), (12.62,11.17,13.08,11.63), (15.97,11.17,16.43,11.63), (-13.57,11.33,-13.23,12.07), (-13.63,12.07,-13.17,12.53), (-22.8,15.75,18.25,16.25)])
R(non_overlap_clk, via2, [(-23.8,-15.85,-23.6,-15.65), (-23.8,-13.2,-23.6,-13), (-17.5,-10.2,-17.3,-10), (-9.85,-10.2,-9.65,-10), (-7.25,-9.8,-7.05,-9.6), (-2.85,-9.8,-2.65,-9.6), (-0.25,-9.8,-0.05,-9.6), (4.15,-9.8,4.35,-9.6), (6.75,-9.8,6.95,-9.6), (11.8,-9.8,12,-9.6), (-16.7,-7.2,-16.5,-7), (-13.5,-7.2,-13.3,-7), (-10.75,-7.2,-10.55,-7), (-6.35,-7.2,-6.15,-7), (-3.75,-7.2,-3.55,-7), (0.65,-7.2,0.85,-7), (3.25,-7.2,3.45,-7), (7.65,-7.2,7.85,-7), (12.75,-7.2,12.95,-7), (16.1,-7.2,16.3,-7), (-22.6,-2.6,-22.4,-2.4), (-19.4,-1.1,-19.2,-0.9), (9.15,-1.1,9.35,-0.9), (-16.7,0.5,-16.5,0.7), (9.6,0.5,9.8,0.7), (-21.25,2.1,-21.05,2.3), (-13.5,2.1,-13.3,2.3), (-20.35,3.7,-20.15,3.9), (-18.5,3.7,-18.3,3.9), (-23.8,5.3,-23.6,5.5), (-17.5,8.3,-17.3,8.5), (-9.85,8.3,-9.65,8.5), (-7.25,8.7,-7.05,8.9), (-2.85,8.7,-2.65,8.9), (-0.25,8.7,-0.05,8.9), (4.15,8.7,4.35,8.9), (6.75,8.7,6.95,8.9), (11.8,8.7,12,8.9), (-21.25,9.2,-21.05,9.4), (-20.35,9.2,-20.15,9.4), (-16.7,11.3,-16.5,11.5), (-10.75,11.3,-10.55,11.5), (-6.35,11.3,-6.15,11.5), (-3.75,11.3,-3.55,11.5), (0.65,11.3,0.85,11.5), (3.25,11.3,3.45,11.5), (7.65,11.3,7.85,11.5), (12.75,11.3,12.95,11.5), (16.1,11.3,16.3,11.5), (-13.5,12.2,-13.3,12.4), (-22.6,15.9,-22.4,16.1)])
R(non_overlap_clk, met3_pin, [(-23.9,-13.3,-23.5,-12.9), (20.4,-8.8,20.75,-8.6), (20.4,-7.2,20.75,-7), (20.4,9.7,20.75,9.9), (20.4,11.3,20.75,11.5), (-22.7,15.8,-22.3,16.2)])
A(non_overlap_clk, met3, -10.91, -7.3, 4.92, 0.4, 3, 2, 7, 18.5)
R(non_overlap_clk, met3, [(-23.975,-16.025,-23.425,5.675), (-17.66,-10.36,-17.14,-10.3), (-10.01,-10.36,-9.49,-10.3), (-17.66,-10.3,-9.49,-9.9), (-7.41,-9.96,-6.89,-9.9), (-3.01,-9.96,-2.49,-9.9), (-0.41,-9.96,0.11,-9.9), (3.99,-9.96,4.51,-9.9), (6.59,-9.96,7.11,-9.9), (11.64,-9.96,12.16,-9.9), (-17.66,-9.9,-17.14,-9.84), (-10.01,-9.9,-9.49,-9.84), (-7.41,-9.9,-2.49,-9.5), (-0.41,-9.9,4.51,-9.5), (6.59,-9.9,12.16,-9.5), (-7.41,-9.5,-6.89,-9.44), (-3.01,-9.5,-2.49,-9.44), (-0.41,-9.5,0.11,-9.44), (3.99,-9.5,4.51,-9.44), (6.59,-9.5,7.11,-9.44), (9.05,-9.5,9.45,-1.26), (11.64,-9.5,12.16,-9.44), (16.94,-8.91,20.96,-8.49), (-16.86,-7.36,-16.34,-6.84), (-13.66,-7.36,-13.14,-6.84), (-10.91,-7.36,-10.39,-7.3), (-6.51,-7.36,-5.99,-7.3), (-3.91,-7.36,-3.39,-7.3), (0.49,-7.36,1.01,-7.3), (3.09,-7.36,3.61,-7.3), (7.49,-7.36,8.01,-7.3), (12.59,-7.36,13.11,-7.3), (15.94,-7.36,16.46,-7.31), (15.94,-7.31,20.96,-7.3), (12.59,-7.3,20.96,-6.9), (-10.91,-6.9,-10.39,-6.84), (-6.51,-6.9,-5.99,-6.84), (-3.91,-6.9,-3.39,-6.84), (0.49,-6.9,1.01,-6.84), (3.09,-6.9,3.61,-6.84), (7.49,-6.9,8.01,-6.84), (12.59,-6.9,13.11,-6.84), (15.94,-6.9,20.96,-6.89), (15.94,-6.89,16.46,-6.84), (-16.8,-6.84,-16.4,0.34), (-13.6,-6.84,-13.2,1.94), (-22.775,-2.775,-22.225,16.275), (-19.56,-1.26,-19.04,-0.74), (8.99,-1.26,9.51,-0.74), (-19.5,-0.74,-19.1,12.1), (-16.86,0.34,-16.34,0.86), (9.44,0.34,9.96,0.86), (9.5,0.86,9.9,8.6), (-21.41,1.94,-20.89,2.46), (-13.66,1.94,-13.14,2.46), (-21.35,2.46,-20.95,9.04), (-20.51,3.54,-19.99,4.06), (-18.66,3.54,-18.14,4.06), (-20.45,4.06,-20.05,9.04), (-18.6,4.06,-18.2,11.2), (-17.66,8.14,-17.14,8.2), (-10.01,8.14,-9.49,8.2), (-17.66,8.2,-9.49,8.6), (-7.41,8.54,-6.89,8.6), (-3.01,8.54,-2.49,8.6), (-0.41,8.54,0.11,8.6), (3.99,8.54,4.51,8.6), (6.59,8.54,7.11,8.6), (11.64,8.54,12.16,8.6), (-17.66,8.6,-17.14,8.66), (-10.01,8.6,-9.49,8.66), (-7.41,8.6,-2.49,9), (-0.41,8.6,4.51,9), (6.59,8.6,12.16,9), (-7.41,9,-6.89,9.06), (-3.01,9,-2.49,9.06), (-0.41,9,0.11,9.06), (3.99,9,4.51,9.06), (6.59,9,7.11,9.06), (11.64,9,12.16,9.06), (-21.41,9.04,-20.89,9.56), (-20.51,9.04,-19.99,9.56), (16.94,9.59,20.96,10.01), (-16.86,11.14,-16.34,11.2), (-10.91,11.14,-10.39,11.2), (-6.51,11.14,-5.99,11.2), (-3.91,11.14,-3.39,11.2), (0.49,11.14,1.01,11.2), (3.09,11.14,3.61,11.2), (7.49,11.14,8.01,11.2), (12.59,11.14,13.11,11.2), (15.94,11.14,16.46,11.19), (15.94,11.19,20.96,11.2), (-18.6,11.2,-16.34,11.6), (12.59,11.2,20.96,11.6), (-16.86,11.6,-16.34,11.66), (-10.91,11.6,-10.39,11.66), (-6.51,11.6,-5.99,11.66), (-3.91,11.6,-3.39,11.66), (0.49,11.6,1.01,11.66), (3.09,11.6,3.61,11.66), (7.49,11.6,8.01,11.66), (12.59,11.6,13.11,11.66), (15.94,11.6,20.96,11.61), (15.94,11.61,16.46,11.66), (-13.66,12.04,-13.14,12.1), (-19.5,12.1,-13.14,12.5), (-13.66,12.5,-13.14,12.56)])
R(non_overlap_clk, boundary, [(-25.335,-16.025,21.835,19.365)])
non_overlap_clk.add(gdstk.Reference(nand2_cell, (-15,-11)))
non_overlap_clk.add(gdstk.Reference(inv_del, (-9.75,-11)))
non_overlap_clk.add(gdstk.Reference(inv_del, (-6.25,-11)))
non_overlap_clk.add(gdstk.Reference(inv_del, (-2.75,-11)))
non_overlap_clk.add(gdstk.Reference(inv_del, (0.75,-11)))
non_overlap_clk.add(gdstk.Reference(inv_del, (4.25,-11)))
non_overlap_clk.add(gdstk.Reference(inv_del, (7.75,-11)))
non_overlap_clk.add(gdstk.Reference(inv_buf, (11.9,-11)))
non_overlap_clk.add(gdstk.Reference(inv_buf, (16.2,-11)))
non_overlap_clk.add(gdstk.Reference(inv_in, (-20.25,7.5)))
non_overlap_clk.add(gdstk.Reference(nand2_cell, (-15,7.5)))
non_overlap_clk.add(gdstk.Reference(inv_del, (-6.25,7.5)))
non_overlap_clk.add(gdstk.Reference(inv_del, (-9.75,7.5)))
non_overlap_clk.add(gdstk.Reference(inv_del, (0.75,7.5)))
non_overlap_clk.add(gdstk.Reference(inv_del, (-2.75,7.5)))
non_overlap_clk.add(gdstk.Reference(inv_del, (7.75,7.5)))
non_overlap_clk.add(gdstk.Reference(inv_del, (4.25,7.5)))
non_overlap_clk.add(gdstk.Reference(inv_buf, (11.9,7.5)))
non_overlap_clk.add(gdstk.Reference(inv_buf, (16.2,7.5)))
non_overlap_clk.add(gdstk.Reference(gr_clk, (-1.75,1.75)))
non_overlap_clk.add(gdstk.Label('CLK', (-24.85,3.8), layer=69, texttype=5))
non_overlap_clk.add(gdstk.Label('PHI1', (20.575,11.4), layer=70, texttype=5))
non_overlap_clk.add(gdstk.Label('PHI1_B', (20.575,9.8), layer=70, texttype=5))
non_overlap_clk.add(gdstk.Label('PHI2', (20.575,-7.1), layer=70, texttype=5))
non_overlap_clk.add(gdstk.Label('PHI2_B', (20.575,-8.7), layer=70, texttype=5))
non_overlap_clk.add(gdstk.Label('VDD', (-22.5,16), layer=70, texttype=5))
non_overlap_clk.add(gdstk.Label('VSS', (-23.7,-13.1), layer=70, texttype=5))

lib.write_gds('non_overlap_clk.gds')
